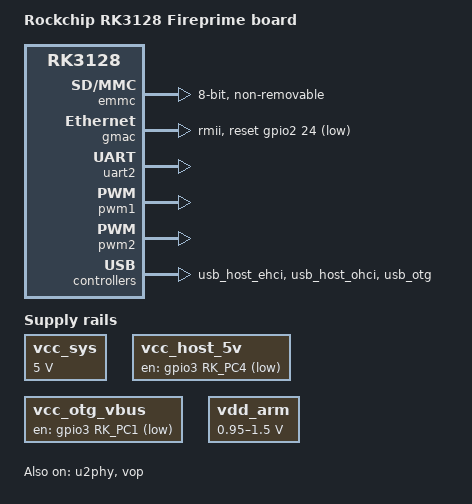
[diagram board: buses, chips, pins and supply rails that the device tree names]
/*
 * This file is dual-licensed: you can use it either under the terms
 * of the GPL or the X11 license, at your option. Note that this dual
 * licensing only applies to this file, and not this project as a
 * whole.
 *
 *  a) This file is free software; you can redistribute it and/or
 *     modify it under the terms of the GNU General Public License as
 *     published by the Free Software Foundation; either version 2 of the
 *     License, or (at your option) any later version.
 *
 *     This file is distributed in the hope that it will be useful,
 *     but WITHOUT ANY WARRANTY; without even the implied warranty of
 *     MERCHANTABILITY or FITNESS FOR A PARTICULAR PURPOSE.  See the
 *     GNU General Public License for more details.
 *
 *  Or, alternatively,
 *
 *  b) Permission is hereby granted, free of charge, to any person
 *     obtaining a copy of this software and associated documentation
 *     files (the "Software"), to deal in the Software without
 *     restriction, including without limitation the rights to use,
 *     copy, modify, merge, publish, distribute, sublicense, and/or
 *     sell copies of the Software, and to permit persons to whom the
 *     Software is furnished to do so, subject to the following
 *     conditions:
 *
 *     The above copyright notice and this permission notice shall be
 *     included in all copies or substantial portions of the Software.
 *
 *     THE SOFTWARE IS PROVIDED "AS IS", WITHOUT WARRANTY OF ANY KIND,
 *     EXPRESS OR IMPLIED, INCLUDING BUT NOT LIMITED TO THE WARRANTIES
 *     OF MERCHANTABILITY, FITNESS FOR A PARTICULAR PURPOSE AND
 *     NONINFRINGEMENT. IN NO EVENT SHALL THE AUTHORS OR COPYRIGHT
 *     HOLDERS BE LIABLE FOR ANY CLAIM, DAMAGES OR OTHER LIABILITY,
 *     WHETHER IN AN ACTION OF CONTRACT, TORT OR OTHERWISE, ARISING
 *     FROM, OUT OF OR IN CONNECTION WITH THE SOFTWARE OR THE USE OR
 *     OTHER DEALINGS IN THE SOFTWARE.
 */

/dts-v1/;
#include <dt-bindings/gpio/gpio.h>
#include <dt-bindings/pinctrl/rockchip.h>
#include <dt-bindings/pwm/pwm.h>
#include "rk3128.dtsi"

/ {
	model = "Rockchip RK3128 Fireprime board";
	compatible = "rockchip,rk3128";

	vcc_sys: vcc-sys {
		compatible = "regulator-fixed";
		regulator-name = "vcc_sys";
		regulator-always-on;
		regulator-boot-on;
		regulator-min-microvolt = <5000000>;
		regulator-max-microvolt = <5000000>;
	};

	vcc_host_5v: vcc-host-5v-regulator {
		compatible = "regulator-fixed";
		gpio = <&gpio3 RK_PC4 GPIO_ACTIVE_LOW>;
		regulator-name = "vcc_host_5v";
		regulator-always-on;
	};

	vcc_otg_vbus: otg-vbus-regulator {
		compatible = "regulator-fixed";
		gpio = <&gpio3 RK_PC1 GPIO_ACTIVE_LOW>;
		regulator-name = "vcc_otg_vbus";
	};

	/* Give it a fake regulator, so dvfs can working. */
	vdd_arm: vdd-arm-regulator {
		compatible = "pwm-regulator";
		pwms = <&pwm1 0 25000 0>;
		regulator-name = "vdd_arm";
		regulator-min-microvolt = <950000>;
		regulator-max-microvolt = <1500000>;
		regulator-always-on;
		regulator-boot-on;
		voltage-table = <1000000 0>,
				<1150000 10>,
				<1200000 20>,
				<1350000 30>,
				<1425000 40>;
	};
};

&cpu0 {
	cpu-supply = <&vdd_arm>;
};

&emmc {
	bus-width = <8>;
	cap-mmc-highspeed;
	no-sdio;
	no-sd;
	disable-wp;
	non-removable;
	num-slots = <1>;
	pinctrl-names = "default";
	pinctrl-0 = <&emmc_clk &emmc_cmd &emmc_bus8>;
	status = "okay";
};

&gmac {
	assigned-clocks = <&cru SCLK_MAC_SRC>;
	assigned-clock-rates = <50000000>;
	clock_in_out = "output";
	pinctrl-names = "default";
	pinctrl-0 = <&rmii_pins>;
	phy-mode = "rmii";
	snps,reset-active-low;
	snps,reset-delays-us = <0 20000 200000>;
	snps,reset-gpio = <&gpio2 24 GPIO_ACTIVE_LOW>;
	tx_delay = <0x30>;
	rx_delay = <0x10>;
	status = "okay";
};

&uart2 {
	status = "okay";
};

&pwm1 {
	status = "okay";
};

&pwm2 {
	status = "okay";
};

&pinctrl {
	usb2 {
		host_vbus_drv: host-vbus-drv {
			rockchip,pins = <3 RK_PC4 RK_FUNC_GPIO &pcfg_pull_none>;
		};

		otg_vbus_drv: otg-vbus-drv {
			rockchip,pins = <3 RK_PC1 RK_FUNC_GPIO &pcfg_pull_none>;
		};
	};
};

&sdmmc {
	cap-mmc-highspeed;
	no-sdio;
	no-mmc;
	broken-cd;
	card-detect-delay = <800>;
	ignore-pm-notify;
	keep-power-in-suspend;
	cd-gpios = <&gpio1 17 GPIO_ACTIVE_HIGH>; /* CD GPIO */
	status = "disabled";
};

&sdio {
	cap-mmc-highspeed;
	no-sd;
	no-mmc;
	ignore-pm-notify;
	keep-power-in-suspend;
	non-removable;
	cap-sdio-irq;
	status = "disabled";
};

&u2phy {
	status = "okay";

	u2phy_otg: otg-port {
		vbus-supply = <&vcc_otg_vbus>;
		status = "okay";
	};

	u2phy_host: host-port {
		phy-supply = <&vcc_host_5v>;
		status = "okay";
	};
};

&usb_host_ehci {
	status = "okay";
};

&usb_host_ohci {
	status = "okay";
};

&usb_otg {
	status = "okay";
};

&vop {
	status = "okay";
};

&vop_mmu {
	status = "okay";
};
